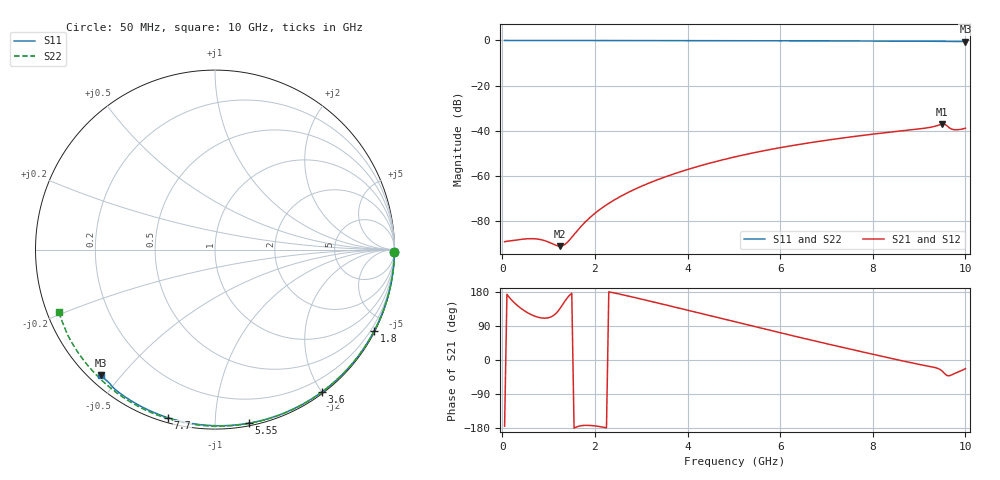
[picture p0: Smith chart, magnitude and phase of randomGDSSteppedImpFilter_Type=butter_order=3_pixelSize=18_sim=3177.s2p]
! freq	dB(S11)	phase(S11)	dB(S12)	phase(S12)
!  dB(S21)	phase(S21)	dB(S22)	phase(S22)
!S-par simulation data
#  GHz  S  DB  R 50
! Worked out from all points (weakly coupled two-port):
!   200 points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, 50 MHz to 10 GHz, reference 50 ohm
!   highest |S21| = -37.09 dB at 9.5 GHz (marker M1); lowest = -91.3 dB at 1.25 GHz (marker M2)
!   lowest |S11| = -0.5 dB at 10 GHz (marker M3), VSWR 35.71, Z = 1.68 - j22.2 ohm
!   |S11| at or under -10 dB: nowhere
!   |S22| runs from -0.6 to 0.0 dB; largest |S21 - S12| = 0
!   S11 on the Smith chart (normalised r, x): 50 MHz: open; 1.8 GHz: 0.04, -4.15; 3.6 GHz: 0.02, -2.01; 5.55 GHz: 0.02, -1.21; 7.7 GHz: 0.02, -0.76; 10 GHz: 0.03, -0.44
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0.05  -0.00 -0.8  -89.33 -174.7  -89.33 -174.7  -0.00 -0.9
0.65  -0.01 -9.9  -87.98 118.3  -87.98 118.3  -0.01 -11.8
1.25  -0.02 -18.9  -91.31 136.5  -91.31 136.5  -0.03 -22.5
1.75  -0.03 -26.3  -81.43 -172.7  -81.43 -172.7  -0.04 -31.3
1.8  -0.03 -27.1  -80.39 -172.4  -80.39 -172.4  -0.04 -32.2
2.15  -0.04 -32.2  -74.37 -176.6  -74.37 -176.6  -0.05 -38.2
2.5  -0.05 -37.3  -69.83 174.8  -69.83 174.8  -0.06 -44.3
2.9  -0.06 -43.1  -65.67 163.7  -65.67 163.7  -0.07 -51.0
3.4  -0.07 -50.1  -61.45 149.2  -61.45 149.2  -0.08 -59.3
3.6  -0.07 -52.9  -59.97 143.3  -59.97 143.3  -0.08 -62.6
4.3  -0.09 -62.6  -55.47 122.6  -55.47 122.6  -0.11 -73.9
5.05  -0.11 -72.6  -51.55 100.2  -51.55 100.2  -0.13 -85.6
5.55  -0.13 -79.1  -49.34 85.3  -49.34 85.3  -0.15 -93.2
6.7  -0.18 -93.5  -45.21 51.6  -45.21 51.6  -0.21 -110.1
7.7  -0.24 -105.6  -42.35 23.5  -42.35 23.5  -0.29 -124.4
8.35  -0.29 -113.3  -40.74 5.5  -40.74 5.5  -0.34 -133.7
9.2  -0.36 -123.1  -38.71 -16.3  -38.71 -16.3  -0.43 -145.9
9.5  -0.40 -126.8  -37.09 -29.3  -37.09 -29.3  -0.47 -150.4
9.55  -0.43 -127.4  -37.14 -35.7  -37.14 -35.7  -0.48 -151.2
9.65  -0.46 -128.3  -38.74 -41.7  -38.74 -41.7  -0.51 -152.7
9.75  -0.47 -129.3  -39.58 -36.6  -39.58 -36.6  -0.52 -154.2
10  -0.49 -132.2  -38.95 -22.8  -38.95 -22.8  -0.57 -158.2
